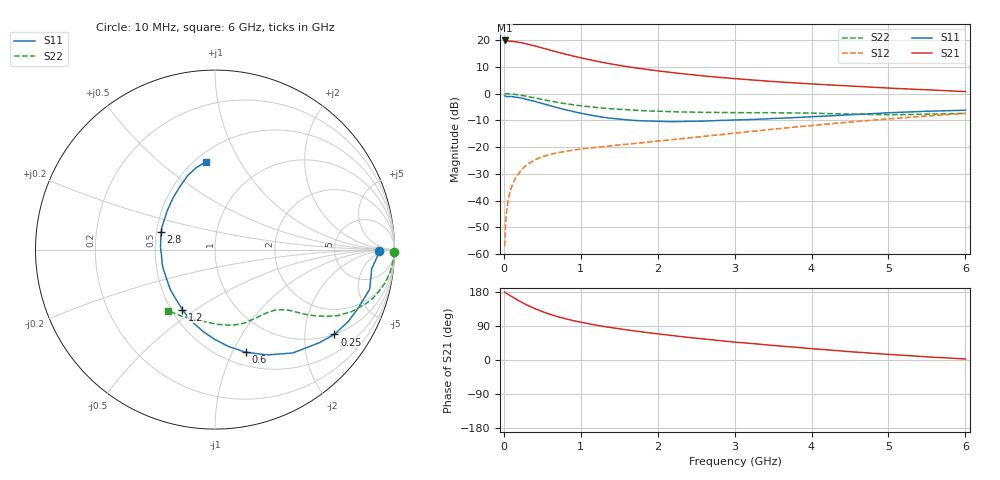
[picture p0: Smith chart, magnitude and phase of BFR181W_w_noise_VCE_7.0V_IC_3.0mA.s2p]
! (c) 2017  Infineon Technologies AG, Munich
! Infineon Technologies  Discrete & RF Semiconductors
! BFR181W
! VCE =  7.0 V,  IC =  3.0 mA
! Common Emitter S-Parameters:  Jan 2017
# GHz  S  MA  R  50
!  f  S11  S21  S12  S22
! GHz  MAG  ANG  MAG  ANG  MAG  ANG  MAG  ANG
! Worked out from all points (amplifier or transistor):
!   77 points, 10 MHz to 6 GHz, reference 50 ohm
!   highest |S21| = 19.9 dB at 10 MHz (marker M1)
!   |S21| within 3 dB of that: start of sweep to 524.4 MHz
!   unconditionally stable (mu >= 1): 1.643 GHz to 3.709 GHz
!   at 130 MHz: K = 0.11, MSG = 26.2 dB, |S12| = -32.9 dB
!   at 2.2 GHz: K = 1.09, MAG = 10.7 dB, |S12| = -17.2 dB
!   at 6 GHz: K = 0.84, MSG = 4.1 dB, |S12| = -7.4 dB
!   lowest NFmin = 0.87 dB at 450 MHz
!   S11 on the Smith chart (normalised r, x): 10 MHz: 23, -3; 250 MHz: 1.00, -2.82; 600 MHz: 0.64, -1.13; 1.2 GHz: 0.57, -0.44; 2.8 GHz: 0.53, +0.11; 6 GHz: 0.57, +0.73
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0.01  0.9162 -0.6  9.906 179.5  0.0014 83.8  0.9999 -0.8
0.02  0.8945 -4.2  9.762 177.4  0.0031 92.0  0.9973 -1.3
0.03  0.8893 -5.1  9.738 176.3  0.0051 89.0  0.996 -2.1
0.07  0.8818 -9.9  9.621 171.5  0.0126 83.9  0.9892 -5.2
0.15  0.8629 -21.9  9.369 161.9  0.026 77.7  0.9669 -10.9
0.25  0.8158 -35.4  8.855 150.3  0.0404 70.2  0.9199 -17.2
0.3  0.7795 -41.7  8.512 145.1  0.0469 67.6  0.8908 -19.9
0.4  0.7204 -53.1  7.862 135.8  0.0573 62.4  0.835 -24.5
0.5  0.6552 -63.6  7.168 127.8  0.066 58.3  0.7795 -28.1
0.6  0.5975 -73.2  6.553 120.7  0.0733 55.0  0.73 -30.6
0.7  0.5454 -82.0  5.979 114.4  0.0783 53.1  0.6872 -32.6
0.8  0.5011 -90.0  5.504 108.9  0.0835 51.9  0.6502 -34.3
0.9  0.4633 -97.8  5.061 104.0  0.0878 50.5  0.6198 -35.6
1.1  0.4048 -111.9  4.361 95.8  0.0958 50.2  0.5717 -37.5
1.2  0.3802 -118.6  4.069 92.0  0.0987 49.9  0.5524 -38.4
1.6  0.3242 -142.9  3.21 79.4  0.1132 51.8  0.5012 -42.0
2.1  0.3011 -169.4  2.572 66.7  0.1341 54.4  0.4642 -47.9
2.8  0.3155 162.0  2.023 51.3  0.1701 57.1  0.4453 -58.2
3.1  0.3243 152.5  1.865 45.6  0.1891 57.4  0.4413 -62.6
4.1  0.376 126.9  1.496 28.4  0.2615 55.4  0.4283 -79.5
5.1  0.4449 108.7  1.254 13.5  0.3464 49.3  0.4052 -103.6
6  0.4907 95.8  1.095 2.6  0.428 41.4  0.4291 -127.4
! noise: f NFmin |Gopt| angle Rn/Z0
0.45  0.87  0.47  17  0.27
0.9  0.93  0.42  32  0.26
1.9  1.34  0.24  80  0.21
2.4  1.55  0.21  94  0.23
